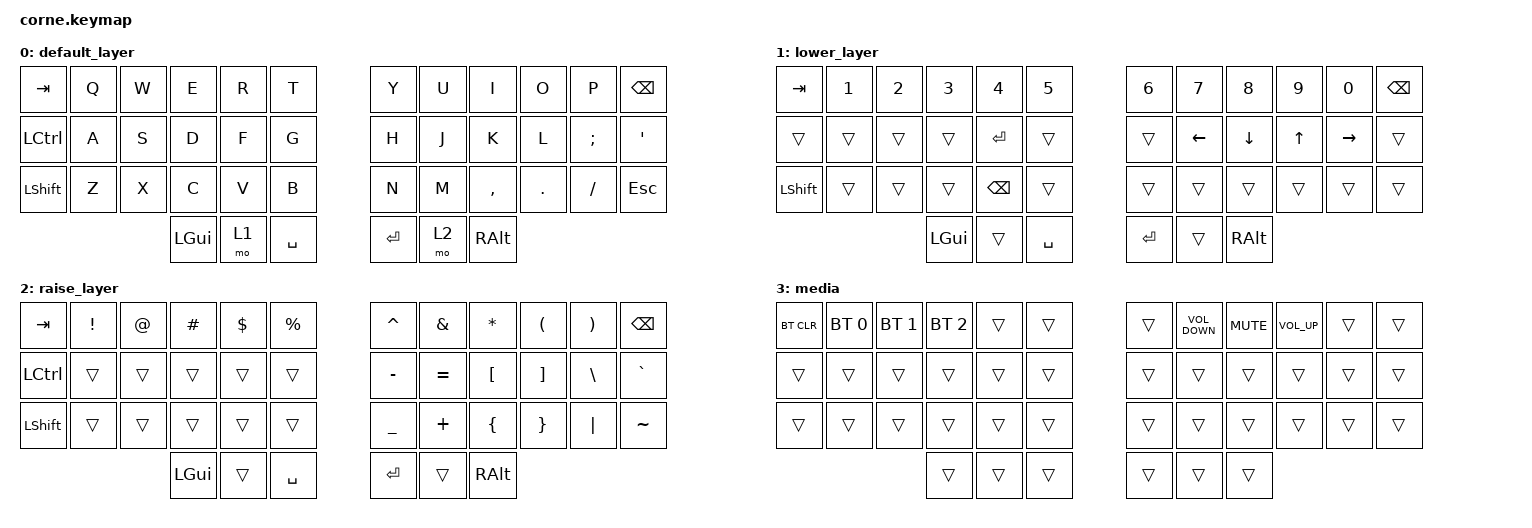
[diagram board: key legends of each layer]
/*
 * Copyright (c) 2020 The ZMK Contributors
 *
 * SPDX-License-Identifier: MIT
 */

#include <behaviors.dtsi>
#include <dt-bindings/zmk/bt.h>
#include <dt-bindings/zmk/keys.h>

/ {
    combos {
        compatible = "zmk,combos";

        combo_esc {
            timeout-ms = <50>;
            key-positions = <0 1>;
            bindings = <&kp ESC>;
        };

        media {
            bindings = <&mo 3>;
            key-positions = <37 40>;
        };
    };

    behaviors {
        ss_hs_modmorph: ss_hs_modmorph {
            compatible = "zmk,behavior-mod-morph";
            label = "SS_HS_MODMORPH";
            bindings = <&kp M>, <&kp RIGHT_BRACKET>;

            #binding-cells = <0>;
            mods = <(MOD_LSFT|MOD_RSFT)>;
        };

        kh_hs_tapdance: kh_hs_tapdance {
            compatible = "zmk,behavior-tap-dance";
            label = "KH_HS_TAPDANCE";
            #binding-cells = <0>;
            tapping-term-ms = <200>;
            bindings = <&kp LEFT_BRACKET>, <&kp RIGHT_BRACKET>;
        };

        hrm: hrm {
            compatible = "zmk,behavior-hold-tap";
            #binding-cells = <2>;
            flavor = "tap-preferred";
            tapping-term-ms = <200>;
            quick-tap-ms = <200>;
            require-prior-idle-ms = <125>;
            bindings = <&kp>, <&kp>;
        };
    };

    keymap {
        compatible = "zmk,keymap";

        default_layer {
            // -----------------------------------------------------------------------------------------
            // |  TAB |  Q  |  W  |  E  |  R  |  T  |   |  Y  |  U   |  I  |  O  |  P  | BKSP |
            // | CTRL |  A  |  S  |  D  |  F  |  G  |   |  H  |  J   |  K  |  L  |  ;  |  '   |
            // | SHFT |  Z  |  X  |  C  |  V  |  B  |   |  N  |  M   |  ,  |  .  |  /  | ESC  |
            //                    | GUI | LWR | SPC |   | ENT | RSE  | ALT |

            bindings = <
&kp TAB    &kp Q  &kp W  &kp E     &kp R  &kp T        &kp Y    &kp U  &kp I      &kp O    &kp P     &kp BSPC
&kp LCTRL  &kp A  &kp S  &kp D     &kp F  &kp G        &kp H    &kp J  &kp K      &kp L    &kp SEMI  &kp SQT
&kp LSHFT  &kp Z  &kp X  &kp C     &kp V  &kp B        &kp N    &kp M  &kp COMMA  &kp DOT  &kp FSLH  &kp ESC
                         &kp LGUI  &mo 1  &kp SPACE    &kp RET  &mo 2  &kp RALT
            >;
        };

        lower_layer {
            // -----------------------------------------------------------------------------------------
            // |  TAB |  1  |  2  |  3  |  4  |  5  |   |  6  |  7  |  8  |  9  |  0  | BKSP |
            // | BTCLR| BT1 | BT2 | BT3 | BT4 | BT5 |   | LFT | DWN |  UP | RGT |     |      |
            // | SHFT |     |     |     |     |     |   |     |     |     |     |     |      |
            //                    | GUI |     | SPC |   | ENT |     | ALT |

            bindings = <
&kp TAB    &kp N1  &kp N2  &kp N3    &kp N4         &kp N5       &kp N6   &kp N7    &kp N8          &kp N9        &kp N0     &kp BSPC
&trans     &trans  &trans  &trans    &kp ENTER      &trans       &trans   &kp LEFT  &kp DOWN_ARROW  &kp UP_ARROW  &kp RIGHT  &trans
&kp LSHFT  &trans  &trans  &trans    &kp BACKSPACE  &trans       &trans   &trans    &trans          &trans        &trans     &trans
                           &kp LGUI  &trans         &kp SPACE    &kp RET  &trans    &kp RALT
            >;
        };

        raise_layer {
            // -----------------------------------------------------------------------------------------
            // |  TAB |  !  |  @  |  #  |  $  |  %  |   |  ^  |  &  |  *  |  (  |  )  | BKSP |
            // | CTRL |     |     |     |     |     |   |  -  |  =  |  [  |  ]  |  \  |  `   |
            // | SHFT |     |     |     |     |     |   |  _  |  +  |  {  |  }  | "|" |  ~   |
            //                    | GUI |     | SPC |   | ENT |     | ALT |

            bindings = <
&kp TAB    &kp EXCL  &kp AT  &kp HASH  &kp DLLR  &kp PRCNT    &kp CARET  &kp AMPS   &kp ASTRK  &kp LPAR  &kp RPAR  &kp BSPC
&kp LCTRL  &trans    &trans  &trans    &trans    &trans       &kp MINUS  &kp EQUAL  &kp LBKT   &kp RBKT  &kp BSLH  &kp GRAVE
&kp LSHFT  &trans    &trans  &trans    &trans    &trans       &kp UNDER  &kp PLUS   &kp LBRC   &kp RBRC  &kp PIPE  &kp TILDE
                             &kp LGUI  &trans    &kp SPACE    &kp RET    &trans     &kp RALT
            >;
        };

        media {
            bindings = <
&bt BT_CLR  &bt BT_SEL 0  &bt BT_SEL 1  &bt BT_SEL 2  &trans  &trans    &trans  &kp C_VOLUME_DOWN  &kp C_MUTE  &kp C_VOLUME_UP  &trans  &trans
&trans      &trans        &trans        &trans        &trans  &trans    &trans  &trans             &trans      &trans           &trans  &trans
&trans      &trans        &trans        &trans        &trans  &trans    &trans  &trans             &trans      &trans           &trans  &trans
                                        &trans        &trans  &trans    &trans  &trans             &trans
            >;
        };
    };
};
